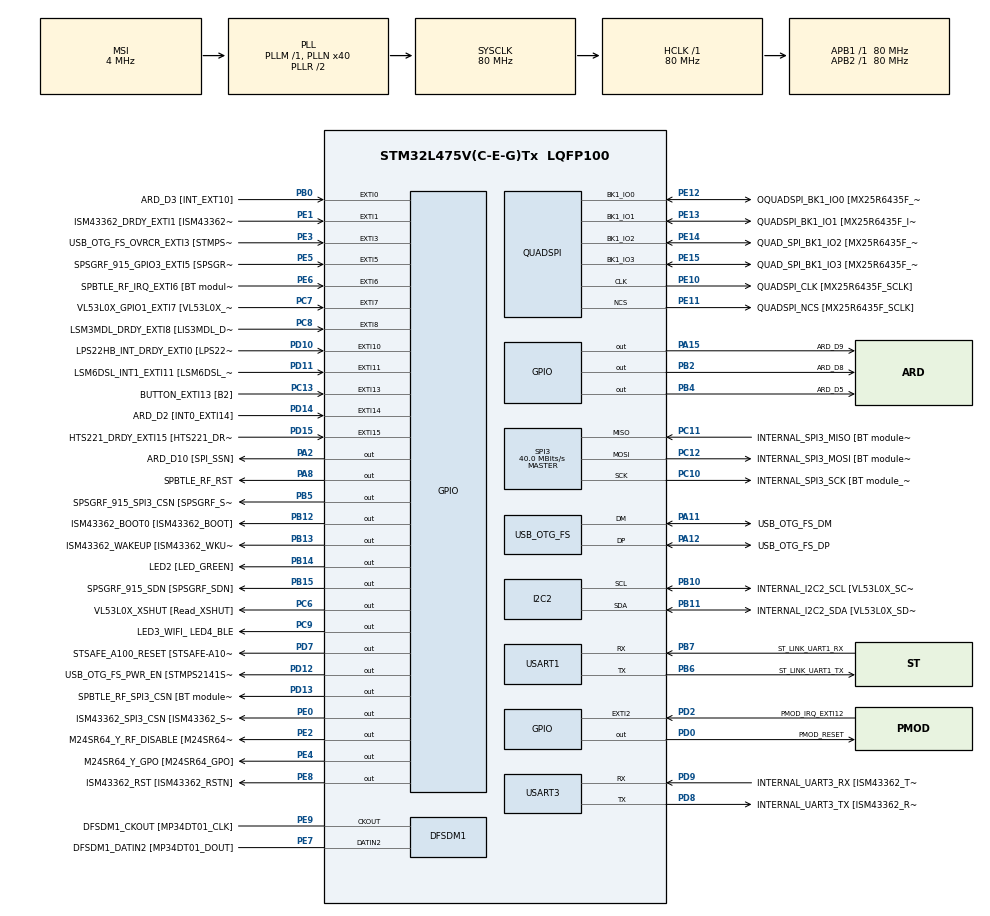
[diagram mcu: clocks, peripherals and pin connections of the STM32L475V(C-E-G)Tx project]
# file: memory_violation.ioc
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Mcu.Family=STM32L4
Mcu.Name=STM32L475V(C-E-G)Tx
Mcu.Package=LQFP100
NVIC.EXTI15_10_IRQn=true\:0\:0\:false\:false\:true\:true\:true\:true
NVIC.EXTI9_5_IRQn=true\:0\:0\:false\:false\:true\:true\:true\:true
NVIC.PriorityGroup=NVIC_PRIORITYGROUP_4
PA0.GPIO_Label=ARD_D1 [UART4_TX]
PA0.Signal=UART4_TX
PA1.GPIO_Label=ARD_D0 [UART4_RX]
PA1.Signal=UART4_RX
PA10.GPIO_Label=USB_OTG_FS_ID
PA10.Signal=USB_OTG_FS_ID
PA11.GPIO_Label=USB_OTG_FS_DM
PA11.Mode=Device_Only
PA11.Signal=USB_OTG_FS_DM
PA12.GPIO_Label=USB_OTG_FS_DP
PA12.Mode=Device_Only
PA12.Signal=USB_OTG_FS_DP
PA13\ (JTMS-SWDIO).GPIO_Label=SYS_JTMS_SWDIO
PA13\ (JTMS-SWDIO).Mode=Serial_Wire
PA13\ (JTMS-SWDIO).Signal=SYS_JTMS-SWDIO
PA14\ (JTCK-SWCLK).GPIO_Label=SYS_JTCK_SWCLK
PA14\ (JTCK-SWCLK).Mode=Serial_Wire
PA14\ (JTCK-SWCLK).Signal=SYS_JTCK-SWCLK
PA15\ (JTDI).GPIO_Label=ARD_D9
PA15\ (JTDI).Signal=GPIO_Output
PA2.GPIO_Label=ARD_D10 [SPI_SSN]
PA2.Signal=GPIO_Output
PA3.GPIO_Label=ARD_D4
PA3.Signal=S_TIM2_CH4
PA4.GPIO_Label=ARD_D7
PA4.Signal=ADCx_IN9
PA5.GPIO_Label=ARD_D13 [SPI1_SCK]
PA5.Signal=SPI1_SCK
PA6.GPIO_Label=ARD_D12 [SPI1_MISO]
PA6.Signal=SPI1_MISO
PA7.GPIO_Label=ARD_D11 [SPI1_MOSI]
PA7.Signal=SPI1_MOSI
PA8.GPIO_Label=SPBTLE_RF_RST
PA8.Signal=GPIO_Output
PA9.GPIO_Label=USB_OTG_FS_VBUS [STMPS2141STR_OUT]
PA9.Signal=USB_OTG_FS_VBUS
PB0.GPIO_Label=ARD_D3 [INT_EXT10]
PB0.Signal=GPXTI0
PB1.GPIO_Label=ARD_D6 [ADC1_IN6]
PB1.Signal=ADCx_IN16
PB10.GPIO_Label=INTERNAL_I2C2_SCL [VL53L0X_SCL]
PB10.GPIO_Pu=GPIO_PULLUP
PB10.Mode=I2C
PB10.Signal=I2C2_SCL
PB11.GPIO_Label=INTERNAL_I2C2_SDA [VL53L0X_SDA]
PB11.GPIO_Pu=GPIO_PULLUP
PB11.Mode=I2C
PB11.Signal=I2C2_SDA
PB12.GPIO_Label=ISM43362_BOOT0 [ISM43362_BOOT]
PB12.Signal=GPIO_Output
PB13.GPIO_Label=ISM43362_WAKEUP [ISM43362_WKUP]
PB13.Signal=GPIO_Output
PB14.GPIO_Label=LED2 [LED_GREEN]
PB14.Signal=GPIO_Output
PB15.GPIO_Label=SPSGRF_915_SDN [SPSGRF_SDN]
PB15.Signal=GPIO_Output
PB2.GPIO_Label=ARD_D8
PB2.Signal=GPIO_Output
PB3\ (JTDO-TRACESWO).GPIO_Label=SYS_JTD0_SWO
PB3\ (JTDO-TRACESWO).Signal=SYS_JTDO-SWO
PB4\ (NJTRST).GPIO_Label=ARD_D5
PB4\ (NJTRST).Signal=GPIO_Output
PB5.GPIO_Label=SPSGRF_915_SPI3_CSN [SPSGRF_SPI_CS]
PB5.PinState=GPIO_PIN_SET
PB5.Signal=GPIO_Output
PB6.GPIO_Label=ST_LINK_UART1_TX
PB6.Mode=Asynchronous
PB6.Signal=USART1_TX
PB7.GPIO_Label=ST_LINK_UART1_RX
PB7.Mode=Asynchronous
PB7.Signal=USART1_RX
PB8.GPIO_Label=ARD_D15 [I2C1_SCL]
PB8.Signal=I2C1_SCL
PB9.GPIO_Label=ARD_D14 [I2C1_SDA]
PB9.Signal=I2C1_SDA
PC0.GPIO_Label=ARD_A5 [ADC]
PC0.Signal=ADCx_IN1
PC1.GPIO_Label=ARD_A4 [ADC]
PC1.Signal=ADCx_IN2
PC10.GPIO_Label=INTERNAL_SPI3_SCK [BT module_SPI_SCLK] [ISM43362_SCK]
PC10.Mode=Full_Duplex_Master
PC10.Signal=SPI3_SCK
PC11.GPIO_Label=INTERNAL_SPI3_MISO [BT module_SPI_MISO] [ISM43362_MISO]
PC11.Mode=Full_Duplex_Master
PC11.Signal=SPI3_MISO
PC12.GPIO_Label=INTERNAL_SPI3_MOSI [BT module_SPI_MOSI] [ISM43362_MOSI]
PC12.Mode=Full_Duplex_Master
PC12.Signal=SPI3_MOSI
PC13.GPIO_Label=BUTTON_EXTI13 [B2]
PC13.GPIO_ModeDefaultEXTI=GPIO_MODE_IT_FALLING
PC13.Signal=GPXTI13
PC14-OSC32_IN\ (PC14).Mode=LSE-External-Oscillator
PC14-OSC32_IN\ (PC14).Signal=RCC_OSC32_IN
PC15-OSC32_OUT\ (PC15).Mode=LSE-External-Oscillator
PC15-OSC32_OUT\ (PC15).Signal=RCC_OSC32_OUT
PC2.GPIO_Label=ARD_A3 [ADC]
PC2.Signal=ADCx_IN3
PC3.GPIO_Label=ARD_A2 [ADC]
PC3.Signal=ADCx_IN4
PC4.GPIO_Label=ARD_A1 [ADC]
PC4.Signal=ADCx_IN13
PC5.GPIO_Label=ARD_A0 [ADC]
PC5.Signal=ADCx_IN14
PC6.GPIO_Label=VL53L0X_XSHUT [Read_XSHUT]
PC6.Signal=GPIO_Output
PC7.GPIO_Label=VL53L0X_GPIO1_EXTI7 [VL53L0X_GPIO1]
PC7.Signal=GPXTI7
PC8.GPIO_Label=LSM3MDL_DRDY_EXTI8 [LIS3MDL_DRDY]
PC8.Signal=GPXTI8
PC9.GPIO_Label=LED3_WIFI_ LED4_BLE
PC9.Signal=GPIO_Output
PD0.GPIO_Label=PMOD_RESET
PD0.Signal=GPIO_Output
PD1.GPIO_Label=PMOD_SPI2_SCK
PD1.Signal=SPI2_SCK
PD10.GPIO_Label=LPS22HB_INT_DRDY_EXTI0 [LPS22HB_INT_DRDY] 
PD10.Signal=GPXTI10
PD11.GPIO_Label=LSM6DSL_INT1_EXTI11 [LSM6DSL_INT1]
PD11.Signal=GPXTI11
PD12.GPIO_Label=USB_OTG_FS_PWR_EN [STMPS2141STR_EN]
PD12.Signal=GPIO_Output
PD13.GPIO_Label=SPBTLE_RF_SPI3_CSN [BT module_SPI_CS]
PD13.PinState=GPIO_PIN_SET
PD13.Signal=GPIO_Output
PD14.GPIO_Label=ARD_D2 [INT0_EXTI14]
PD14.Signal=GPXTI14
PD15.GPIO_Label=HTS221_DRDY_EXTI15 [HTS221_DRDY]
PD15.Signal=GPXTI15
PD2.GPIO_Label=PMOD_IRQ_EXTI12
PD2.Signal=GPXTI2
PD3.GPIO_Label=PMOD_UART2_CTS
PD3.Signal=USART2_CTS
PD4.GPIO_Label=PMOD_UART2_RTS
PD4.Signal=USART2_RTS
PD5.GPIO_Label=PMOD_UART2_TX
PD5.Signal=USART2_TX
PD6.GPIO_Label=PMOD_UART2_RX
PD6.Signal=USART2_RX
PD7.GPIO_Label=STSAFE_A100_RESET [STSAFE-A100_RESET]
PD7.Signal=GPIO_Output
PD8.GPIO_Label=INTERNAL_UART3_TX [ISM43362_RX]
PD8.Mode=Asynchronous
PD8.Signal=USART3_TX
PD9.GPIO_Label=INTERNAL_UART3_RX [ISM43362_TX]
PD9.Mode=Asynchronous
PD9.Signal=USART3_RX
PE0.GPIO_Label=ISM43362_SPI3_CSN [ISM43362_SSN]
PE0.PinState=GPIO_PIN_SET
PE0.Signal=GPIO_Output
PE1.GPIO_Label=ISM43362_DRDY_EXTI1 [ISM43362_DATARDY]
PE1.Signal=GPXTI1
PE10.GPIO_Label=QUADSPI_CLK [MX25R6435F_SCLK]
PE10.Mode=Single Bank
PE10.Signal=QUADSPI_CLK
PE11.GPIO_Label=QUADSPI_NCS [MX25R6435F_SCLK]
PE11.Mode=Single Bank
PE11.Signal=QUADSPI_NCS
PE12.GPIO_Label=OQUADSPI_BK1_IO0 [MX25R6435F_IO0]
PE12.Mode=Single Bank
PE12.Signal=QUADSPI_BK1_IO0
PE13.GPIO_Label=QUADSPI_BK1_IO1 [MX25R6435F_IO1]
PE13.Mode=Single Bank
PE13.Signal=QUADSPI_BK1_IO1
PE14.GPIO_Label=QUAD_SPI_BK1_IO2 [MX25R6435F_IO2]
PE14.Mode=Single Bank
PE14.Signal=QUADSPI_BK1_IO2
PE15.GPIO_Label=QUAD_SPI_BK1_IO3 [MX25R6435F_IO3]
PE15.Mode=Single Bank
PE15.Signal=QUADSPI_BK1_IO3
PE2.GPIO_Label=M24SR64_Y_RF_DISABLE [M24SR64_RFDIS]
PE2.Signal=GPIO_Output
PE3.GPIO_Label=USB_OTG_FS_OVRCR_EXTI3 [STMPS2141STR_FAULT]
PE3.Signal=GPXTI3
PE4.GPIO_Label=M24SR64_Y_GPO [M24SR64_GPO]
PE4.Signal=GPIO_Output
PE5.GPIO_Label=SPSGRF_915_GPIO3_EXTI5 [SPSGRF_GPIO_3]
PE5.Signal=GPXTI5
PE6.GPIO_Label=SPBTLE_RF_IRQ_EXTI6 [BT module_SPI_IRQ]
PE6.Signal=GPXTI6
PE7.GPIO_Label=DFSDM1_DATIN2 [MP34DT01_DOUT]
PE7.Signal=S_DATAIN2DFSDM1
PE8.GPIO_Label=ISM43362_RST [ISM43362_RSTN]
PE8.Signal=GPIO_Output
PE9.GPIO_Label=DFSDM1_CKOUT [MP34DT01_CLK]
PE9.Signal=S_CKOUTDFSDM1
ProjectManager.HeapSize=0x200
ProjectManager.StackSize=0x400
ProjectManager.TargetToolchain=STM32CubeIDE
QUADSPI.ClockPrescaler=2
QUADSPI.FifoThreshold=4
QUADSPI.FlashSize=23
QUADSPI.SampleShifting=QSPI_SAMPLE_SHIFTING_HALFCYCLE
RCC.ADCFreq_Value=48000000
RCC.AHBFreq_Value=80000000
RCC.APB1Freq_Value=80000000
RCC.APB1TimFreq_Value=80000000
RCC.APB2Freq_Value=80000000
RCC.APB2TimFreq_Value=80000000
RCC.CortexFreq_Value=80000000
RCC.HCLKFreq_Value=80000000
RCC.HSE_VALUE=8000000
RCC.HSI_VALUE=16000000
RCC.MSI_VALUE=4000000
RCC.PLLN=40
RCC.PLLSAI1N=24
RCC.SYSCLKFreq_VALUE=80000000
RCC.SYSCLKSource=RCC_SYSCLKSOURCE_PLLCLK
RCC.USBFreq_Value=48000000
RCC.VCOOutputFreq_Value=160000000
SH.ADCx_IN1.0=ADC1_IN1
SH.ADCx_IN13.0=ADC1_IN13
SH.ADCx_IN14.0=ADC1_IN14
SH.ADCx_IN16.0=ADC1_IN16
SH.ADCx_IN2.0=ADC1_IN2
SH.ADCx_IN3.0=ADC1_IN3
SH.ADCx_IN4.0=ADC1_IN4
SH.ADCx_IN9.0=ADC1_IN9
SH.S_CKOUTDFSDM1.0=DFSDM1_CKOUT,CKOUT
SH.S_CKOUTDFSDM1.1=DFSDM1_CKOUT,PDM_SPI_Input_from_ch12_and_Internal_Clock
SH.S_DATAIN2DFSDM1.0=DFSDM1_DATIN2,PDM_SPI_Input_from_ch12_and_Internal_Clock
SH.S_TIM2_CH4.0=TIM2_CH4
SPI3.CalculateBaudRate=40.0 MBits/s
SPI3.Direction=SPI_DIRECTION_2LINES
SPI3.Mode=SPI_MODE_MASTER
SPI3.VirtualType=VM_MASTER
USART1.VirtualMode-Asynchronous=VM_ASYNC
USART3.VirtualMode-Asynchronous=VM_ASYNC
USB_OTG_FS.VirtualMode=Device_Only
VP_RNG_VS_RNG.Mode=RNG_Activate
board=B-L475E-IOT01A1

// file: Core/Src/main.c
/* USER CODE BEGIN Header */
/**
  ******************************************************************************
  * @file           : main.c
  * @brief          : Main program body
  ******************************************************************************
  * @attention
  *
  * Copyright (c) 2024 STMicroelectronics.
  * All rights reserved.
  *
  * This software is licensed under terms that can be found in the LICENSE file
  * in the root directory of this software component.
  * If no LICENSE file comes with this software, it is provided AS-IS.
  *
  ******************************************************************************
  */
/* USER CODE END Header */
#include "main.h"

/* USER CODE BEGIN Includes */
#include "tee_client_api.h"

/* USER CODE END Includes */

DFSDM_Channel_HandleTypeDef hdfsdm1_channel1;

I2C_HandleTypeDef hi2c2;

QSPI_HandleTypeDef hqspi;

RNG_HandleTypeDef hrng;

SPI_HandleTypeDef hspi3;

UART_HandleTypeDef huart1;
UART_HandleTypeDef huart3;

PCD_HandleTypeDef hpcd_USB_OTG_FS;

void SystemClock_Config(void);
void PeriphCommonClock_Config(void);
static void MX_GPIO_Init(void);
static void MX_DFSDM1_Init(void);
static void MX_I2C2_Init(void);
static void MX_QUADSPI_Init(void);
static void MX_SPI3_Init(void);
static void MX_USART1_UART_Init(void);
static void MX_USART3_UART_Init(void);
static void MX_USB_OTG_FS_PCD_Init(void);
static void MX_RNG_Init(void);

/* USER CODE BEGIN 0 */
int __io_putchar(int ch){
    HAL_UART_Transmit(&huart1, (uint8_t *) &ch, 1, HAL_MAX_DELAY);
    return ch;
}

void access_TEE_RAM(){

	// Sample function to perform Fibonacci sequence and try to access TEE reserved memory
	int n, f, f1, f2;

	n = 10;
	f1 = 0;
	f2 = 1;

	for(int i=2; i<=n; i++){
		f = f1 + f2;
		f1 = f2;
		f2 = f;

		printf("Trying to load data from: 0x10000000 (TEE reserved RAM memory address)\r\n");
		__asm__(
			"ldr r8, =0x10000000\n" // load the address 0x10000000 into r8 (0x10000000 is part of the RAM of TEE)
			"ldr r0, [r8]\n"        // load the value of r8 in r0
		);
	}
}

void access_TA1_RAM(){
	// Try to access RAM area dedicated to TA1 (without having the privileges to do so)

	printf("Trying to load data from: 0x20000100 (TA1 reserved RAM memory address)\r\n");
	__asm__(
		"ldr r1, =0x20000100\n" // load the address 0x10000000 into r1 (0x20000100 is part of the RAM of TA1)
		"ldr r0, [r1]\n"        // load the value of r1 in r0
	);
}

void trigger_unpermitted_TA2_FLASH_access()
{
	// Try to copy some data from the TA2 flash memory area (without having the privileges to do so)
	printf("Trying to copy some data from: 0x0809C000 (TA2 flash memory address)\r\n");

    unsigned char buffer[16] = {0};
    unsigned char *p = 0x0809C000; // TA2 flash area

    memcpy(buffer, p, 16);
}

void trigger_unpermitted_TEE_FLASH_access()
{
	// Try to copy some data from the TEE flash memory area (without having the privileges to do so)
	printf("Trying to copy some data from: 0x08010000 (TEE flash memory address)\r\n");

    unsigned char buffer[16] = {0};
    unsigned char *p = 0x08010000;// TEE flash area

    memcpy(buffer, p, 16);
}

void execute_priviledge_TEE_instruction()
{
	// Try to execute a GP Core API directly from a Client Application
	// without switching to secure world and invoking a Trusted Application
	printf("Trying to execute a GP TEE Core API from the unsecure world\r\n");

    INVOKE_SVC(5); // Invoke the internal TEE_Malloc that allocates memory in the TA's heap
    // The function should not execute
}

void escalate_priv()
{
	// Try to execute a GP Core API directly from a Client Application
	// without switching to secure world and invoking a Trusted Application
	printf("Trying to modify system registers and gain privileges from Client Application (unpriv: 1, priv: 0)\r\n");

	uint32_t control;
	__asm__ volatile ("mrs %0, CONTROL" : "=r" (control) );
	printf("Current value of nPRIV bit: %d\r\n", control);

	/* Set CTRL.nPRIV to 0 (try to switch to privileged mode) */
	__asm__(
		"mov r0, #0x00\n"
		"msr CONTROL, r0\n"
	);

	__asm__ volatile ("mrs %0, CONTROL" : "=r" (control) );
	printf("Value of nPRIV bit after trying to gain privileges (set register to 0): %d\r\n", control);
}

void TA1_illegal_accesses() {

	// Open a context and a session with TA1 and from that, invoke command to perform illegal accesses

	TEEC_Result res;
	// Declare context and session variables for TA1
	TEEC_Context ctx;
	TEEC_Session sess;
	TEEC_UUID uuid = { 0x8aaaf200, 0x2450, 0x11e4, \
			{ 0xab, 0xe2, 0x00, 0x02, 0xa5, 0xd5, 0xc5, 0x1b} };

	uint32_t err_origin;

	// Initiliaze context of TA1
	res = TEEC_InitializeContext(NULL, &ctx);
	if (res != TEEC_SUCCESS) {
		ERR_MSG("TEEC_InitializeContext for TA1 failed with code 0x%x\r\n", res);
	    goto error;
	}

	// Open session with TA1
	res = TEEC_OpenSession(&ctx, &sess, &uuid, TEEC_LOGIN_PUBLIC, NULL, NULL, &err_origin);
	if (res != TEEC_SUCCESS) {
		ERR_MSG("TEEC_Opensession for TA1 failed with code 0x%x origin 0x%x\r\n", res, err_origin);
		goto error;
	}

	 TEEC_Operation op = {0};

	// Invoke command 1 for TA1
	 res = TEEC_InvokeCommand(&sess, 1, &op, NULL);
	 if(res != 0){
		 ERR_MSG("TEEC_InvokeCommand for TA1 failed with code 0x%x\r\n", res);
		 goto error;
	 }

	// Close session for TA1
	TEEC_CloseSession(&sess);

	// Finalize context for TA1
	TEEC_FinalizeContext(&ctx);

error:
	return;

}

/* USER CODE END 0 */

int main(void)
{

  /* MCU Configuration--------------------------------------------------------*/

  /* Reset of all peripherals, Initializes the Flash interface and the Systick. */
  HAL_Init();

  /* Configure the system clock */
  SystemClock_Config();

  /* Configure the peripherals common clocks */
  PeriphCommonClock_Config();

  /* Initialize all configured peripherals */
  MX_GPIO_Init();
  MX_DFSDM1_Init();
  MX_I2C2_Init();
  MX_QUADSPI_Init();
  MX_SPI3_Init();
  MX_USART1_UART_Init();
  MX_USART3_UART_Init();
  MX_USB_OTG_FS_PCD_Init();
  MX_RNG_Init();
  /* USER CODE BEGIN 2 */

  // Try to access TEE dedicated RAM
  //access_TEE_RAM();

  // Try to access TA1 dedicated RAM
  //access_TA1_RAM();

  // Try to access TA2 dedicate flash memory area
  //trigger_unpermitted_TA2_FLASH_access();

  // Try to access TEE dedicate flash memory area
  //trigger_unpermitted_TEE_FLASH_access();

  // Try to make illegal access from TA1
  TA1_illegal_accesses();

  // Try to execute a priv only function (GP Core API)
  //execute_priviledge_TEE_instruction();

  // Try to modify system registers and gain priv
  //escalate_priv();

  /* USER CODE END 2 */

  /* Infinite loop */
  while (1)
  {

  }
}

void SystemClock_Config(void)
  {
    RCC_OscInitTypeDef RCC_OscInitStruct = {0};
    RCC_ClkInitTypeDef RCC_ClkInitStruct = {0};

    /** Configure the main internal regulator output voltage
    */
    if (HAL_PWREx_ControlVoltageScaling(PWR_REGULATOR_VOLTAGE_SCALE1) != HAL_OK)
    {
      Error_Handler();
    }

    /** Configure LSE Drive Capability
    */
    HAL_PWR_EnableBkUpAccess();
    __HAL_RCC_LSEDRIVE_CONFIG(RCC_LSEDRIVE_LOW);

    /** Initializes the RCC Oscillators according to the specified parameters
    * in the RCC_OscInitTypeDef structure.
    */

    /* MSI is enabled after System reset, activate PLL with MSI as source */
    RCC_OscInitStruct.OscillatorType = RCC_OSCILLATORTYPE_MSI;
    RCC_OscInitStruct.MSIState = RCC_MSI_ON;
    RCC_OscInitStruct.MSIClockRange = RCC_MSIRANGE_6;
    RCC_OscInitStruct.MSICalibrationValue = RCC_MSICALIBRATION_DEFAULT;
    RCC_OscInitStruct.PLL.PLLState = RCC_PLL_ON;
    RCC_OscInitStruct.PLL.PLLSource = RCC_PLLSOURCE_MSI;
    RCC_OscInitStruct.PLL.PLLM = 1;
    RCC_OscInitStruct.PLL.PLLN = 40;
    RCC_OscInitStruct.PLL.PLLR = 2;
    RCC_OscInitStruct.PLL.PLLP = 7;
    RCC_OscInitStruct.PLL.PLLQ = 4;
    if(HAL_RCC_OscConfig(&RCC_OscInitStruct) != HAL_OK)
    {
      /* Initialization Error */
      Error_Handler();
    }

    /* Select PLL as system clock source and configure the HCLK, PCLK1 and PCLK2 clocks dividers */
    RCC_ClkInitStruct.ClockType = (RCC_CLOCKTYPE_SYSCLK | RCC_CLOCKTYPE_HCLK | RCC_CLOCKTYPE_PCLK1 | RCC_CLOCKTYPE_PCLK2);
    RCC_ClkInitStruct.SYSCLKSource = RCC_SYSCLKSOURCE_PLLCLK;
    RCC_ClkInitStruct.AHBCLKDivider = RCC_SYSCLK_DIV1;
    RCC_ClkInitStruct.APB1CLKDivider = RCC_HCLK_DIV1;
    RCC_ClkInitStruct.APB2CLKDivider = RCC_HCLK_DIV1;
    if(HAL_RCC_ClockConfig(&RCC_ClkInitStruct, FLASH_LATENCY_4) != HAL_OK)
    {
      /* Initialization Error */
      Error_Handler();
    }

    /** Enable MSI Auto calibration
    */
    HAL_RCCEx_EnableMSIPLLMode();
}

void PeriphCommonClock_Config(void)
{
  RCC_PeriphCLKInitTypeDef PeriphClkInit = {0};

  /** Initializes the peripherals clock
  */
  PeriphClkInit.PeriphClockSelection = RCC_PERIPHCLK_USB|RCC_PERIPHCLK_RNG;
  PeriphClkInit.UsbClockSelection = RCC_USBCLKSOURCE_PLLSAI1;
  PeriphClkInit.RngClockSelection = RCC_RNGCLKSOURCE_PLLSAI1;
  PeriphClkInit.PLLSAI1.PLLSAI1Source = RCC_PLLSOURCE_MSI;
  PeriphClkInit.PLLSAI1.PLLSAI1M = 1;
  PeriphClkInit.PLLSAI1.PLLSAI1N = 24;
  PeriphClkInit.PLLSAI1.PLLSAI1P = RCC_PLLP_DIV7;
  PeriphClkInit.PLLSAI1.PLLSAI1Q = RCC_PLLQ_DIV2;
  PeriphClkInit.PLLSAI1.PLLSAI1R = RCC_PLLR_DIV2;
  PeriphClkInit.PLLSAI1.PLLSAI1ClockOut = RCC_PLLSAI1_48M2CLK;
  if (HAL_RCCEx_PeriphCLKConfig(&PeriphClkInit) != HAL_OK)
  {
    Error_Handler();
  }
}
static void MX_DFSDM1_Init(void)
{

  hdfsdm1_channel1.Instance = DFSDM1_Channel1;
  hdfsdm1_channel1.Init.OutputClock.Activation = ENABLE;
  hdfsdm1_channel1.Init.OutputClock.Selection = DFSDM_CHANNEL_OUTPUT_CLOCK_SYSTEM;
  hdfsdm1_channel1.Init.OutputClock.Divider = 2;
  hdfsdm1_channel1.Init.Input.Multiplexer = DFSDM_CHANNEL_EXTERNAL_INPUTS;
  hdfsdm1_channel1.Init.Input.DataPacking = DFSDM_CHANNEL_STANDARD_MODE;
  hdfsdm1_channel1.Init.Input.Pins = DFSDM_CHANNEL_FOLLOWING_CHANNEL_PINS;
  hdfsdm1_channel1.Init.SerialInterface.Type = DFSDM_CHANNEL_SPI_RISING;
  hdfsdm1_channel1.Init.SerialInterface.SpiClock = DFSDM_CHANNEL_SPI_CLOCK_INTERNAL;
  hdfsdm1_channel1.Init.Awd.FilterOrder = DFSDM_CHANNEL_FASTSINC_ORDER;
  hdfsdm1_channel1.Init.Awd.Oversampling = 1;
  hdfsdm1_channel1.Init.Offset = 0;
  hdfsdm1_channel1.Init.RightBitShift = 0x00;
  if (HAL_DFSDM_ChannelInit(&hdfsdm1_channel1) != HAL_OK)
  {
    Error_Handler();
  }

}

static void MX_I2C2_Init(void)
{

  hi2c2.Instance = I2C2;
  hi2c2.Init.Timing = 0x00000E14;
  hi2c2.Init.OwnAddress1 = 0;
  hi2c2.Init.AddressingMode = I2C_ADDRESSINGMODE_7BIT;
  hi2c2.Init.DualAddressMode = I2C_DUALADDRESS_DISABLE;
  hi2c2.Init.OwnAddress2 = 0;
  hi2c2.Init.OwnAddress2Masks = I2C_OA2_NOMASK;
  hi2c2.Init.GeneralCallMode = I2C_GENERALCALL_DISABLE;
  hi2c2.Init.NoStretchMode = I2C_NOSTRETCH_DISABLE;
  if (HAL_I2C_Init(&hi2c2) != HAL_OK)
  {
    Error_Handler();
  }

  /** Configure Analogue filter
  */
  if (HAL_I2CEx_ConfigAnalogFilter(&hi2c2, I2C_ANALOGFILTER_ENABLE) != HAL_OK)
  {
    Error_Handler();
  }

  /** Configure Digital filter
  */
  if (HAL_I2CEx_ConfigDigitalFilter(&hi2c2, 0) != HAL_OK)
  {
    Error_Handler();
  }

}

static void MX_QUADSPI_Init(void)
{

  /* QUADSPI parameter configuration*/
  hqspi.Instance = QUADSPI;
  hqspi.Init.ClockPrescaler = 2;
  hqspi.Init.FifoThreshold = 4;
  hqspi.Init.SampleShifting = QSPI_SAMPLE_SHIFTING_HALFCYCLE;
  hqspi.Init.FlashSize = 23;
  hqspi.Init.ChipSelectHighTime = QSPI_CS_HIGH_TIME_1_CYCLE;
  hqspi.Init.ClockMode = QSPI_CLOCK_MODE_0;
  if (HAL_QSPI_Init(&hqspi) != HAL_OK)
  {
    Error_Handler();
  }

}

static void MX_RNG_Init(void)
{

  hrng.Instance = RNG;
  if (HAL_RNG_Init(&hrng) != HAL_OK)
  {
    Error_Handler();
  }

}

static void MX_SPI3_Init(void)
{

  /* SPI3 parameter configuration*/
  hspi3.Instance = SPI3;
  hspi3.Init.Mode = SPI_MODE_MASTER;
  hspi3.Init.Direction = SPI_DIRECTION_2LINES;
  hspi3.Init.DataSize = SPI_DATASIZE_4BIT;
  hspi3.Init.CLKPolarity = SPI_POLARITY_LOW;
  hspi3.Init.CLKPhase = SPI_PHASE_1EDGE;
  hspi3.Init.NSS = SPI_NSS_SOFT;
  hspi3.Init.BaudRatePrescaler = SPI_BAUDRATEPRESCALER_2;
  hspi3.Init.FirstBit = SPI_FIRSTBIT_MSB;
  hspi3.Init.TIMode = SPI_TIMODE_DISABLE;
  hspi3.Init.CRCCalculation = SPI_CRCCALCULATION_DISABLE;
  hspi3.Init.CRCPolynomial = 7;
  hspi3.Init.CRCLength = SPI_CRC_LENGTH_DATASIZE;
  hspi3.Init.NSSPMode = SPI_NSS_PULSE_ENABLE;
  if (HAL_SPI_Init(&hspi3) != HAL_OK)
  {
    Error_Handler();
  }

}

static void MX_USART1_UART_Init(void)
{

  huart1.Instance = USART1;
  huart1.Init.BaudRate = 115200;
  huart1.Init.WordLength = UART_WORDLENGTH_8B;
  huart1.Init.StopBits = UART_STOPBITS_1;
  huart1.Init.Parity = UART_PARITY_NONE;
  huart1.Init.Mode = UART_MODE_TX_RX;
  huart1.Init.HwFlowCtl = UART_HWCONTROL_NONE;
  huart1.Init.OverSampling = UART_OVERSAMPLING_16;
  huart1.Init.OneBitSampling = UART_ONE_BIT_SAMPLE_DISABLE;
  huart1.AdvancedInit.AdvFeatureInit = UART_ADVFEATURE_NO_INIT;
  if (HAL_UART_Init(&huart1) != HAL_OK)
  {
	Error_Handler();
  }

}

static void MX_USART3_UART_Init(void)
{

  huart3.Instance = USART3;
  huart3.Init.BaudRate = 115200;
  huart3.Init.WordLength = UART_WORDLENGTH_8B;
  huart3.Init.StopBits = UART_STOPBITS_1;
  huart3.Init.Parity = UART_PARITY_NONE;
  huart3.Init.Mode = UART_MODE_TX_RX;
  huart3.Init.HwFlowCtl = UART_HWCONTROL_NONE;
  huart3.Init.OverSampling = UART_OVERSAMPLING_16;
  huart3.Init.OneBitSampling = UART_ONE_BIT_SAMPLE_DISABLE;
  huart3.AdvancedInit.AdvFeatureInit = UART_ADVFEATURE_NO_INIT;
  if (HAL_UART_Init(&huart3) != HAL_OK)
  {
    Error_Handler();
  }

}

static void MX_USB_OTG_FS_PCD_Init(void)
{

  hpcd_USB_OTG_FS.Instance = USB_OTG_FS;
  hpcd_USB_OTG_FS.Init.dev_endpoints = 6;
  hpcd_USB_OTG_FS.Init.speed = PCD_SPEED_FULL;
  hpcd_USB_OTG_FS.Init.phy_itface = PCD_PHY_EMBEDDED;
  hpcd_USB_OTG_FS.Init.Sof_enable = DISABLE;
  hpcd_USB_OTG_FS.Init.low_power_enable = DISABLE;
  hpcd_USB_OTG_FS.Init.lpm_enable = DISABLE;
  hpcd_USB_OTG_FS.Init.battery_charging_enable = DISABLE;
  hpcd_USB_OTG_FS.Init.use_dedicated_ep1 = DISABLE;
  hpcd_USB_OTG_FS.Init.vbus_sensing_enable = DISABLE;
  if (HAL_PCD_Init(&hpcd_USB_OTG_FS) != HAL_OK)
  {
    Error_Handler();
  }

}

static void MX_GPIO_Init(void)
{
  GPIO_InitTypeDef GPIO_InitStruct = {0};

  /* GPIO Ports Clock Enable */
  __HAL_RCC_GPIOE_CLK_ENABLE();
  __HAL_RCC_GPIOC_CLK_ENABLE();
  __HAL_RCC_GPIOA_CLK_ENABLE();
  __HAL_RCC_GPIOB_CLK_ENABLE();
  __HAL_RCC_GPIOD_CLK_ENABLE();

  /*Configure GPIO pin Output Level */
  HAL_GPIO_WritePin(GPIOE, M24SR64_Y_RF_DISABLE_Pin|M24SR64_Y_GPO_Pin|ISM43362_RST_Pin, GPIO_PIN_RESET);

  /*Configure GPIO pin Output Level */
  HAL_GPIO_WritePin(GPIOA, ARD_D10_Pin|SPBTLE_RF_RST_Pin|ARD_D9_Pin, GPIO_PIN_RESET);

  /*Configure GPIO pin Output Level */
  HAL_GPIO_WritePin(GPIOB, ARD_D8_Pin|ISM43362_BOOT0_Pin|ISM43362_WAKEUP_Pin|LED2_Pin
                          |SPSGRF_915_SDN_Pin|ARD_D5_Pin, GPIO_PIN_RESET);

  /*Configure GPIO pin Output Level */
  HAL_GPIO_WritePin(GPIOD, USB_OTG_FS_PWR_EN_Pin|PMOD_RESET_Pin|STSAFE_A100_RESET_Pin, GPIO_PIN_RESET);

  /*Configure GPIO pin Output Level */
  HAL_GPIO_WritePin(SPBTLE_RF_SPI3_CSN_GPIO_Port, SPBTLE_RF_SPI3_CSN_Pin, GPIO_PIN_SET);

  /*Configure GPIO pin Output Level */
  HAL_GPIO_WritePin(GPIOC, VL53L0X_XSHUT_Pin|LED3_WIFI__LED4_BLE_Pin, GPIO_PIN_RESET);

  /*Configure GPIO pin Output Level */
  HAL_GPIO_WritePin(SPSGRF_915_SPI3_CSN_GPIO_Port, SPSGRF_915_SPI3_CSN_Pin, GPIO_PIN_SET);

  /*Configure GPIO pin Output Level */
  HAL_GPIO_WritePin(ISM43362_SPI3_CSN_GPIO_Port, ISM43362_SPI3_CSN_Pin, GPIO_PIN_SET);

  /*Configure GPIO pins : M24SR64_Y_RF_DISABLE_Pin M24SR64_Y_GPO_Pin ISM43362_RST_Pin ISM43362_SPI3_CSN_Pin */
  GPIO_InitStruct.Pin = M24SR64_Y_RF_DISABLE_Pin|M24SR64_Y_GPO_Pin|ISM43362_RST_Pin|ISM43362_SPI3_CSN_Pin;
  GPIO_InitStruct.Mode = GPIO_MODE_OUTPUT_PP;
  GPIO_InitStruct.Pull = GPIO_NOPULL;
  GPIO_InitStruct.Speed = GPIO_SPEED_FREQ_LOW;
  HAL_GPIO_Init(GPIOE, &GPIO_InitStruct);

  /*Configure GPIO pins : USB_OTG_FS_OVRCR_EXTI3_Pin SPSGRF_915_GPIO3_EXTI5_Pin SPBTLE_RF_IRQ_EXTI6_Pin ISM43362_DRDY_EXTI1_Pin */
  GPIO_InitStruct.Pin = USB_OTG_FS_OVRCR_EXTI3_Pin|SPSGRF_915_GPIO3_EXTI5_Pin|SPBTLE_RF_IRQ_EXTI6_Pin|ISM43362_DRDY_EXTI1_Pin;
  GPIO_InitStruct.Mode = GPIO_MODE_IT_RISING;
  GPIO_InitStruct.Pull = GPIO_NOPULL;
  HAL_GPIO_Init(GPIOE, &GPIO_InitStruct);

  /*Configure GPIO pin : BUTTON_EXTI13_Pin */
  GPIO_InitStruct.Pin = BUTTON_EXTI13_Pin;
  GPIO_InitStruct.Mode = GPIO_MODE_IT_FALLING;
  GPIO_InitStruct.Pull = GPIO_NOPULL;
  HAL_GPIO_Init(BUTTON_EXTI13_GPIO_Port, &GPIO_InitStruct);

  /*Configure GPIO pins : ARD_A5_Pin ARD_A4_Pin ARD_A3_Pin ARD_A2_Pin
                           ARD_A1_Pin ARD_A0_Pin */
  GPIO_InitStruct.Pin = ARD_A5_Pin|ARD_A4_Pin|ARD_A3_Pin|ARD_A2_Pin
                          |ARD_A1_Pin|ARD_A0_Pin;
  GPIO_InitStruct.Mode = GPIO_MODE_ANALOG_ADC_CONTROL;
  GPIO_InitStruct.Pull = GPIO_NOPULL;
  HAL_GPIO_Init(GPIOC, &GPIO_InitStruct);

  /*Configure GPIO pins : ARD_D1_Pin ARD_D0_Pin */
  GPIO_InitStruct.Pin = ARD_D1_Pin|ARD_D0_Pin;
  GPIO_InitStruct.Mode = GPIO_MODE_AF_PP;
  GPIO_InitStruct.Pull = GPIO_NOPULL;
  GPIO_InitStruct.Speed = GPIO_SPEED_FREQ_VERY_HIGH;
  GPIO_InitStruct.Alternate = GPIO_AF8_UART4;
  HAL_GPIO_Init(GPIOA, &GPIO_InitStruct);

  /*Configure GPIO pins : ARD_D10_Pin SPBTLE_RF_RST_Pin ARD_D9_Pin */
  GPIO_InitStruct.Pin = ARD_D10_Pin|SPBTLE_RF_RST_Pin|ARD_D9_Pin;
  GPIO_InitStruct.Mode = GPIO_MODE_OUTPUT_PP;
  GPIO_InitStruct.Pull = GPIO_NOPULL;
  GPIO_InitStruct.Speed = GPIO_SPEED_FREQ_LOW;
  HAL_GPIO_Init(GPIOA, &GPIO_InitStruct);

  /*Configure GPIO pin : ARD_D4_Pin */
  GPIO_InitStruct.Pin = ARD_D4_Pin;
  GPIO_InitStruct.Mode = GPIO_MODE_AF_PP;
  GPIO_InitStruct.Pull = GPIO_NOPULL;
  GPIO_InitStruct.Speed = GPIO_SPEED_FREQ_LOW;
  GPIO_InitStruct.Alternate = GPIO_AF1_TIM2;
  HAL_GPIO_Init(ARD_D4_GPIO_Port, &GPIO_InitStruct);

  /*Configure GPIO pin : ARD_D7_Pin */
  GPIO_InitStruct.Pin = ARD_D7_Pin;
  GPIO_InitStruct.Mode = GPIO_MODE_ANALOG_ADC_CONTROL;
  GPIO_InitStruct.Pull = GPIO_NOPULL;
  HAL_GPIO_Init(ARD_D7_GPIO_Port, &GPIO_InitStruct);

  /*Configure GPIO pins : ARD_D13_Pin ARD_D12_Pin ARD_D11_Pin */
  GPIO_InitStruct.Pin = ARD_D13_Pin|ARD_D12_Pin|ARD_D11_Pin;
  GPIO_InitStruct.Mode = GPIO_MODE_AF_PP;
  GPIO_InitStruct.Pull = GPIO_NOPULL;
  GPIO_InitStruct.Speed = GPIO_SPEED_FREQ_VERY_HIGH;
  GPIO_InitStruct.Alternate = GPIO_AF5_SPI1;
  HAL_GPIO_Init(GPIOA, &GPIO_InitStruct);

  /*Configure GPIO pin : ARD_D3_Pin */
  GPIO_InitStruct.Pin = ARD_D3_Pin;
  GPIO_InitStruct.Mode = GPIO_MODE_IT_RISING;
  GPIO_InitStruct.Pull = GPIO_NOPULL;
  HAL_GPIO_Init(ARD_D3_GPIO_Port, &GPIO_InitStruct);

  /*Configure GPIO pin : ARD_D6_Pin */
  GPIO_InitStruct.Pin = ARD_D6_Pin;
  GPIO_InitStruct.Mode = GPIO_MODE_ANALOG_ADC_CONTROL;
  GPIO_InitStruct.Pull = GPIO_NOPULL;
  HAL_GPIO_Init(ARD_D6_GPIO_Port, &GPIO_InitStruct);

  /*Configure GPIO pins : ARD_D8_Pin ISM43362_BOOT0_Pin ISM43362_WAKEUP_Pin LED2_Pin
                           SPSGRF_915_SDN_Pin ARD_D5_Pin SPSGRF_915_SPI3_CSN_Pin */
  GPIO_InitStruct.Pin = ARD_D8_Pin|ISM43362_BOOT0_Pin|ISM43362_WAKEUP_Pin|LED2_Pin
                          |SPSGRF_915_SDN_Pin|ARD_D5_Pin|SPSGRF_915_SPI3_CSN_Pin;
  GPIO_InitStruct.Mode = GPIO_MODE_OUTPUT_PP;
  GPIO_InitStruct.Pull = GPIO_NOPULL;
  GPIO_InitStruct.Speed = GPIO_SPEED_FREQ_LOW;
  HAL_GPIO_Init(GPIOB, &GPIO_InitStruct);

  /*Configure GPIO pins : LPS22HB_INT_DRDY_EXTI0_Pin LSM6DSL_INT1_EXTI11_Pin ARD_D2_Pin HTS221_DRDY_EXTI15_Pin
                           PMOD_IRQ_EXTI12_Pin */
  GPIO_InitStruct.Pin = LPS22HB_INT_DRDY_EXTI0_Pin|LSM6DSL_INT1_EXTI11_Pin|ARD_D2_Pin|HTS221_DRDY_EXTI15_Pin
                          |PMOD_IRQ_EXTI12_Pin;
  GPIO_InitStruct.Mode = GPIO_MODE_IT_RISING;
  GPIO_InitStruct.Pull = GPIO_NOPULL;
  HAL_GPIO_Init(GPIOD, &GPIO_InitStruct);

  /*Configure GPIO pins : USB_OTG_FS_PWR_EN_Pin SPBTLE_RF_SPI3_CSN_Pin PMOD_RESET_Pin STSAFE_A100_RESET_Pin */
  GPIO_InitStruct.Pin = USB_OTG_FS_PWR_EN_Pin|SPBTLE_RF_SPI3_CSN_Pin|PMOD_RESET_Pin|STSAFE_A100_RESET_Pin;
  GPIO_InitStruct.Mode = GPIO_MODE_OUTPUT_PP;
  GPIO_InitStruct.Pull = GPIO_NOPULL;
  GPIO_InitStruct.Speed = GPIO_SPEED_FREQ_LOW;
  HAL_GPIO_Init(GPIOD, &GPIO_InitStruct);

  /*Configure GPIO pins : VL53L0X_XSHUT_Pin LED3_WIFI__LED4_BLE_Pin */
  GPIO_InitStruct.Pin = VL53L0X_XSHUT_Pin|LED3_WIFI__LED4_BLE_Pin;
  GPIO_InitStruct.Mode = GPIO_MODE_OUTPUT_PP;
  GPIO_InitStruct.Pull = GPIO_NOPULL;
  GPIO_InitStruct.Speed = GPIO_SPEED_FREQ_LOW;
  HAL_GPIO_Init(GPIOC, &GPIO_InitStruct);

  /*Configure GPIO pins : VL53L0X_GPIO1_EXTI7_Pin LSM3MDL_DRDY_EXTI8_Pin */
  GPIO_InitStruct.Pin = VL53L0X_GPIO1_EXTI7_Pin|LSM3MDL_DRDY_EXTI8_Pin;
  GPIO_InitStruct.Mode = GPIO_MODE_IT_RISING;
  GPIO_InitStruct.Pull = GPIO_NOPULL;
  HAL_GPIO_Init(GPIOC, &GPIO_InitStruct);

  /*Configure GPIO pin : PMOD_SPI2_SCK_Pin */
  GPIO_InitStruct.Pin = PMOD_SPI2_SCK_Pin;
  GPIO_InitStruct.Mode = GPIO_MODE_AF_PP;
  GPIO_InitStruct.Pull = GPIO_NOPULL;
  GPIO_InitStruct.Speed = GPIO_SPEED_FREQ_VERY_HIGH;
  GPIO_InitStruct.Alternate = GPIO_AF5_SPI2;
  HAL_GPIO_Init(PMOD_SPI2_SCK_GPIO_Port, &GPIO_InitStruct);

  /*Configure GPIO pins : PMOD_UART2_CTS_Pin PMOD_UART2_RTS_Pin PMOD_UART2_TX_Pin PMOD_UART2_RX_Pin */
  GPIO_InitStruct.Pin = PMOD_UART2_CTS_Pin|PMOD_UART2_RTS_Pin|PMOD_UART2_TX_Pin|PMOD_UART2_RX_Pin;
  GPIO_InitStruct.Mode = GPIO_MODE_AF_PP;
  GPIO_InitStruct.Pull = GPIO_NOPULL;
  GPIO_InitStruct.Speed = GPIO_SPEED_FREQ_VERY_HIGH;
  GPIO_InitStruct.Alternate = GPIO_AF7_USART2;
  HAL_GPIO_Init(GPIOD, &GPIO_InitStruct);

  /*Configure GPIO pins : ARD_D15_Pin ARD_D14_Pin */
  GPIO_InitStruct.Pin = ARD_D15_Pin|ARD_D14_Pin;
  GPIO_InitStruct.Mode = GPIO_MODE_AF_OD;
  GPIO_InitStruct.Pull = GPIO_NOPULL;
  GPIO_InitStruct.Speed = GPIO_SPEED_FREQ_VERY_HIGH;
  GPIO_InitStruct.Alternate = GPIO_AF4_I2C1;
  HAL_GPIO_Init(GPIOB, &GPIO_InitStruct);

  /* EXTI interrupt init*/
  HAL_NVIC_SetPriority(EXTI9_5_IRQn, 0, 0);
  HAL_NVIC_EnableIRQ(EXTI9_5_IRQn);

  HAL_NVIC_SetPriority(EXTI15_10_IRQn, 0, 0);
  HAL_NVIC_EnableIRQ(EXTI15_10_IRQn);

}

void Error_Handler(void)
{
  __disable_irq();
  while (1)
  {
  }
}
